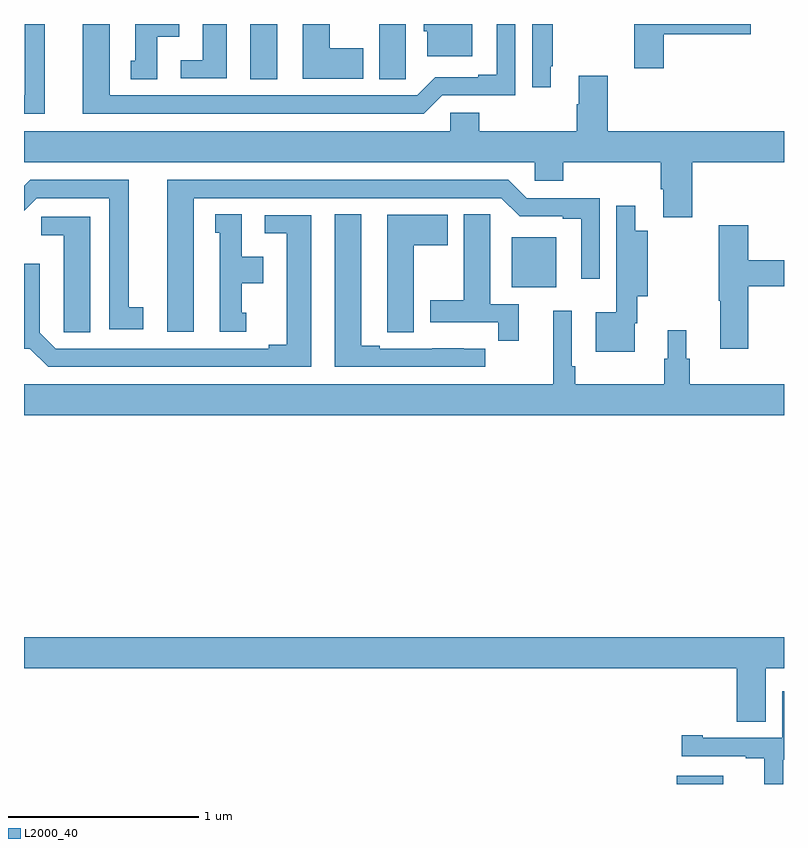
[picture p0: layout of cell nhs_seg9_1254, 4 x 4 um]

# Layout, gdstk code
import gdstk
lib = gdstk.Library(unit=1e-6, precision=1e-09)
def R(c, l, rs):  # rectangles x0, y0, x1, y1
    for r in rs: c.add(gdstk.rectangle(r[:2], r[2:], *l))
def P(c, l, *ps):  # polygons
    for p in ps: c.add(gdstk.Polygon(p, *l))
L2000_40 = (2000, 40)

nhs_seg9_1254 = lib.new_cell('nhs_seg9_1254')
R(nhs_seg9_1254, L2000_40, [(184.436,1174.5,184.681,1174.543), (183.566,1177.115,183.802,1177.378), (182.192,1178.209,182.332,1178.5)])
P(nhs_seg9_1254, L2000_40, [(183.201,1178.124),(183.585,1178.124),(183.585,1178.5),(183.488,1178.5),(183.488,1178.233),(183.392,1178.233),(183.392,1178.22),(183.165,1178.22),(183.069,1178.124),(181.45,1178.124),(181.45,1178.5),(181.31,1178.5),(181.31,1178.028),(183.105,1178.028)],
  [(181.702,1178.432),(181.816,1178.432),(181.816,1178.5),(181.586,1178.5),(181.586,1178.307),(181.562,1178.307),(181.562,1178.209),(181.702,1178.209)],
  [(182.068,1178.5),(181.94,1178.5),(181.94,1178.31),(181.824,1178.31),(181.824,1178.214),(182.068,1178.214)],
  [(183.772,1178.278),(183.784,1178.278),(183.784,1178.5),(183.675,1178.5),(183.675,1178.166),(183.772,1178.166)],
  [(184.367,1178.447),(184.825,1178.447),(184.825,1178.5),(184.213,1178.5),(184.213,1178.268),(184.367,1178.268)],
  [(182.785,1178.373),(182.608,1178.373),(182.608,1178.5),(182.468,1178.5),(182.468,1178.213),(182.785,1178.213)],
  [(181.108,1178.5),(181.004,1178.5),(181.004,1178.124),(181,1178.124),(181,1178.028),(181.108,1178.028)],
  [(183.009,1178.32),(183.01,1178.32),(183.01,1178.5),(182.87,1178.5),(182.87,1178.209),(183.009,1178.209)],
  [(183.358,1178.5),(183.104,1178.5),(183.104,1178.463),(183.122,1178.463),(183.122,1178.33),(183.358,1178.33)],
  [(184.517,1177.772),(185,1177.772),(185,1177.936),(184.073,1177.936),(184.073,1178.227),(183.92,1178.227),(183.92,1178.078),(183.908,1178.078),(183.908,1177.936),(183.395,1177.936),(183.395,1178.034),(183.243,1178.034),(183.243,1177.936),(181,1177.936),(181,1177.772),(183.687,1177.772),(183.687,1177.674),(183.839,1177.674),(183.839,1177.772),(184.352,1177.772),(184.352,1177.63),(184.364,1177.63),(184.364,1177.482),(184.517,1177.482)],
  [(181.627,1177.01),(181.552,1177.01),(181.552,1177.68),(181.032,1177.68),(181,1177.648),(181,1177.516),(181.068,1177.584),(181.448,1177.584),(181.448,1176.894),(181.627,1176.894)],
  [(181.894,1177.584),(183.513,1177.584),(183.609,1177.488),(183.836,1177.488),(183.836,1177.476),(183.932,1177.476),(183.932,1177.158),(184.029,1177.158),(184.029,1177.584),(183.645,1177.584),(183.549,1177.68),(181.754,1177.68),(181.754,1176.879),(181.894,1176.879)],
  [(184.215,1176.926),(184.228,1176.926),(184.228,1177.067),(184.284,1177.067),(184.284,1177.411),(184.216,1177.411),(184.216,1177.543),(184.118,1177.543),(184.118,1177.307),(184.117,1177.307),(184.117,1176.982),(184.01,1176.982),(184.01,1176.776),(184.215,1176.776)],
  [(182.17,1176.981),(182.146,1176.981),(182.146,1177.136),(182.26,1177.136),(182.26,1177.276),(182.146,1177.276),(182.146,1177.499),(182.006,1177.499),(182.006,1177.401),(182.03,1177.401),(182.03,1176.879),(182.17,1176.879)],
  [(183.605,1177.026),(183.454,1177.026),(183.454,1177.388),(183.453,1177.388),(183.453,1177.499),(183.314,1177.499),(183.314,1177.047),(183.137,1177.047),(183.137,1176.93),(183.496,1176.93),(183.496,1176.834),(183.605,1176.834)],
  [(183.427,1176.792),(183.314,1176.792),(183.314,1176.793),(183.148,1176.793),(183.148,1176.792),(182.872,1176.792),(182.872,1176.807),(182.776,1176.807),(182.776,1177.499),(182.636,1177.499),(182.636,1176.696),(183.427,1176.696)],
  [(183.052,1177.336),(183.229,1177.336),(183.229,1177.495),(182.912,1177.495),(182.912,1176.985),(182.913,1176.985),(182.913,1176.877),(183.052,1176.877)],
  [(182.512,1177.494),(182.268,1177.494),(182.268,1177.398),(182.384,1177.398),(182.384,1176.812),(182.288,1176.812),(182.288,1176.792),(181.167,1176.792),(181.083,1176.876),(181.083,1177.237),(181,1177.237),(181,1176.792),(181.031,1176.792),(181.127,1176.696),(182.512,1176.696)],
  [(181.348,1177.485),(181.092,1177.485),(181.092,1177.388),(181.208,1177.388),(181.208,1176.985),(181.209,1176.985),(181.209,1176.877),(181.348,1176.877)],
  [(184.811,1177.12),(185,1177.12),(185,1177.256),(184.811,1177.256),(184.811,1177.441),(184.657,1177.441),(184.657,1177.043),(184.664,1177.043),(184.664,1176.792),(184.811,1176.792)],
  [(185,1176.604),(184.505,1176.604),(184.505,1176.738),(184.486,1176.738),(184.486,1176.889),(184.388,1176.889),(184.388,1176.738),(184.369,1176.738),(184.369,1176.604),(183.902,1176.604),(183.902,1176.7),(183.882,1176.7),(183.882,1176.991),(183.785,1176.991),(183.785,1176.604),(181,1176.604),(181,1176.44),(185,1176.44)],
  [(181,1175.108),(184.751,1175.108),(184.751,1174.828),(184.903,1174.828),(184.903,1175.108),(185,1175.108),(185,1175.272),(181,1175.272)],
  [(184.995,1174.627),(185,1174.627),(185,1174.989),(184.992,1174.989),(184.992,1174.743),(184.573,1174.743),(184.573,1174.756),(184.461,1174.756),(184.461,1174.647),(184.799,1174.647),(184.799,1174.635),(184.895,1174.635),(184.895,1174.5),(184.995,1174.5)])

lib.write_gds('nhs_seg9_1254.gds')
